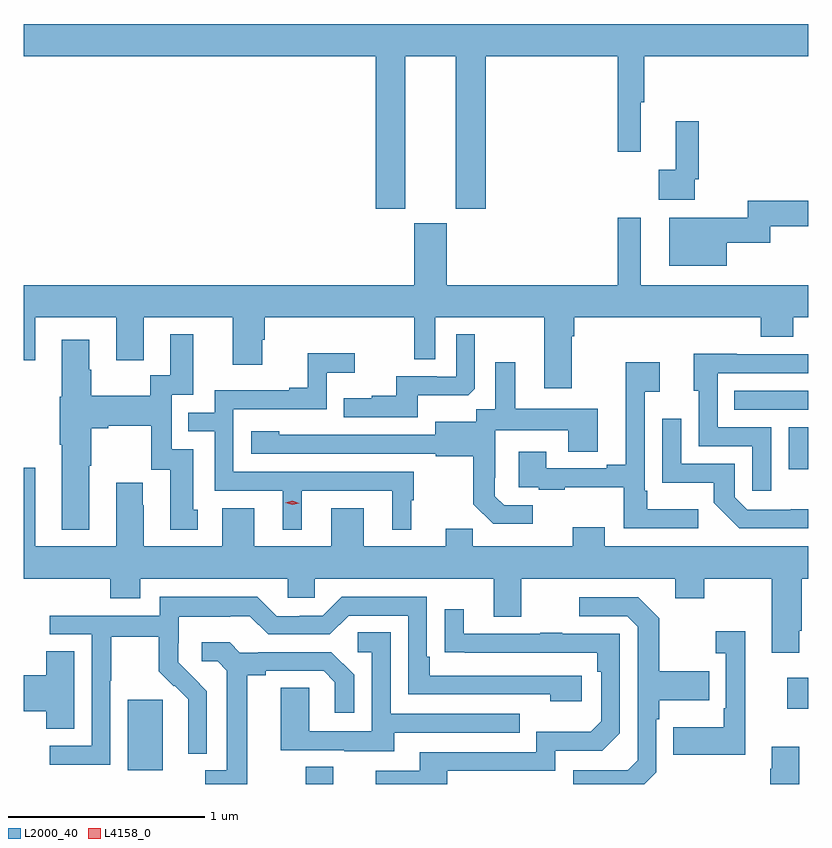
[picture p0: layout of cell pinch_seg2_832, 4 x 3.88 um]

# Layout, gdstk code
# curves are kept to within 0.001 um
import gdstk
lib = gdstk.Library(unit=1e-6, precision=1e-09)
def R(c, l, rs):  # rectangles x0, y0, x1, y1
    for r in rs: c.add(gdstk.rectangle(r[:2], r[2:], *l))
def P(c, l, *ps):  # polygons
    for p in ps: c.add(gdstk.Polygon(p, *l))
L2000_40 = (2000, 40)
L4158_0 = (4158, 0)

pinch_seg2_832 = lib.new_cell('pinch_seg2_832')
R(pinch_seg2_832, L2000_40, [(876.185,587.981,876.325,588.068), (875.279,588.05,875.458,588.411), (878.64,588.365,878.748,588.523), (878.648,589.586,878.748,589.801), (878.371,589.89,878.748,589.986)])
P(pinch_seg2_832, L2000_40, [(876.694,591.692),(876.95,591.692),(876.95,590.913),(877.103,590.913),(877.103,591.692),(877.777,591.692),(877.777,591.204),(877.895,591.204),(877.895,591.456),(877.913,591.456),(877.913,591.692),(878.748,591.692),(878.748,591.856),(874.748,591.856),(874.748,591.692),(876.542,591.692),(876.542,590.913),(876.694,590.913)],
  [(878.169,591.064),(878.189,591.064),(878.189,591.361),(878.072,591.361),(878.072,591.113),(877.986,591.113),(877.986,590.96),(878.169,590.96)],
  [(878.332,590.741),(878.555,590.741),(878.555,590.826),(878.748,590.826),(878.748,590.954),(878.439,590.954),(878.439,590.869),(878.039,590.869),(878.039,590.624),(878.332,590.624)],
  [(877.894,590.869),(877.777,590.869),(877.777,590.524),(876.904,590.524),(876.904,590.841),(876.74,590.841),(876.74,590.524),(874.748,590.524),(874.748,590.142),(874.807,590.142),(874.807,590.36),(875.219,590.36),(875.219,590.142),(875.359,590.142),(875.359,590.36),(875.813,590.36),(875.813,590.118),(875.965,590.118),(875.965,590.247),(875.978,590.247),(875.978,590.36),(876.738,590.36),(876.738,590.146),(876.846,590.146),(876.846,590.36),(877.403,590.36),(877.403,589.998),(877.543,589.998),(877.543,590.264),(877.556,590.264),(877.556,590.36),(878.507,590.36),(878.507,590.261),(878.671,590.261),(878.671,590.36),(878.748,590.36),(878.748,590.524),(877.894,590.524)],
  [(875.083,589.603),(875.091,589.603),(875.091,589.796),(875.179,589.796),(875.179,589.808),(875.399,589.808),(875.399,589.584),(875.495,589.584),(875.495,589.278),(875.635,589.278),(875.635,589.38),(875.611,589.38),(875.611,589.689),(875.502,589.689),(875.502,589.965),(875.611,589.965),(875.611,590.275),(875.495,590.275),(875.495,590.066),(875.394,590.066),(875.394,589.96),(875.091,589.96),(875.091,590.094),(875.083,590.094),(875.083,590.245),(874.943,590.245),(874.943,589.956),(874.931,589.956),(874.931,589.712),(874.943,589.712),(874.943,589.277),(875.083,589.277)],
  [(876.757,589.964),(877.015,589.964),(877.047,589.995),(877.047,590.275),(876.954,590.275),(876.954,590.058),(876.854,590.058),(876.854,590.061),(876.647,590.061),(876.647,589.96),(876.523,589.96),(876.523,589.948),(876.379,589.948),(876.379,589.851),(876.757,589.851)],
  [(876.166,589.476),(876.626,589.476),(876.626,589.277),(876.724,589.277),(876.724,589.428),(876.736,589.428),(876.736,589.572),(875.817,589.572),(875.817,589.893),(876.294,589.893),(876.294,590.078),(876.436,590.078),(876.436,590.177),(876.196,590.177),(876.196,590.002),(876.101,590.002),(876.101,589.989),(875.721,589.989),(875.721,589.875),(875.587,589.875),(875.587,589.779),(875.721,589.779),(875.721,589.476),(876.068,589.476),(876.068,589.277),(876.166,589.277)],
  [(878.559,589.8),(878.286,589.8),(878.286,590.076),(878.748,590.076),(878.748,590.172),(878.383,590.172),(878.383,590.174),(878.165,590.174),(878.165,589.986),(878.19,589.986),(878.19,589.704),(878.463,589.704),(878.463,589.476),(878.559,589.476)],
  [(878.188,589.381),(877.927,589.381),(877.927,589.477),(877.914,589.477),(877.914,589.982),(877.99,589.982),(877.99,590.131),(877.817,590.131),(877.817,589.609),(877.721,589.609),(877.721,589.59),(877.411,589.59),(877.411,589.675),(877.271,589.675),(877.271,589.494),(877.375,589.494),(877.375,589.482),(877.507,589.482),(877.507,589.493),(877.806,589.493),(877.806,589.284),(878.188,589.284)],
  [(877.342,589.401),(877.197,589.401),(877.15,589.448),(877.15,589.543),(877.152,589.543),(877.152,589.784),(877.523,589.784),(877.523,589.675),(877.675,589.675),(877.675,589.894),(877.255,589.894),(877.255,590.131),(877.151,590.131),(877.151,589.892),(877.056,589.892),(877.056,589.828),(876.845,589.828),(876.845,589.761),(876.051,589.762),(876.051,589.78),(875.907,589.78),(875.907,589.665),(876.849,589.665),(876.849,589.653),(877.041,589.653),(877.041,589.407),(877.141,589.307),(877.342,589.307)],
  [(878.748,589.382),(878.66,589.382),(878.66,589.38),(878.436,589.38),(878.373,589.443),(878.373,589.614),(878.1,589.614),(878.1,589.843),(878.004,589.843),(878.004,589.517),(878.266,589.517),(878.266,589.415),(878.396,589.284),(878.748,589.284)],
  [(876.093,588.93),(876.231,588.93),(876.231,589.028),(877.145,589.028),(877.145,588.834),(877.285,588.834),(877.285,589.028),(878.069,589.028),(878.069,588.929),(878.217,588.929),(878.217,589.028),(878.561,589.028),(878.561,588.651),(878.701,588.651),(878.701,588.763),(878.714,588.763),(878.714,589.028),(878.748,589.028),(878.748,589.192),(877.711,589.192),(877.711,589.291),(877.547,589.291),(877.547,589.192),(877.037,589.192),(877.037,589.283),(876.899,589.283),(876.899,589.192),(876.481,589.192),(876.481,589.387),(876.317,589.387),(876.317,589.192),(875.923,589.192),(875.923,589.387),(875.759,589.387),(875.759,589.192),(875.359,589.192),(875.359,589.403),(875.356,589.403),(875.356,589.516),(875.219,589.516),(875.219,589.192),(874.807,589.192),(874.807,589.594),(874.748,589.594),(874.748,589.028),(875.189,589.028),(875.189,588.929),(875.341,588.929),(875.341,589.028),(876.093,589.028)],
  [(875.19,588.508),(875.193,588.508),(875.193,588.732),(875.437,588.732),(875.437,588.557),(875.514,588.48),(875.517,588.483),(875.588,588.413),(875.588,588.29),(875.586,588.29),(875.586,588.136),(875.682,588.136),(875.682,588.454),(875.536,588.602),(875.536,588.699),(875.538,588.699),(875.538,588.833),(875.801,588.833),(875.801,588.837),(875.901,588.837),(875.994,588.744),(876.309,588.744),(876.405,588.84),(876.708,588.84),(876.708,588.438),(877.433,588.438),(877.433,588.404),(877.594,588.404),(877.594,588.534),(876.817,588.534),(876.817,588.631),(876.804,588.631),(876.804,588.936),(876.369,588.936),(876.273,588.84),(876.155,588.84),(876.155,588.837),(876.039,588.837),(875.939,588.937),(875.442,588.937),(875.442,588.84),(874.881,588.84),(874.881,588.744),(875.094,588.744),(875.094,588.177),(874.881,588.177),(874.881,588.079),(875.19,588.079)],
  [(877.974,588.042),(877.974,588.311),(877.987,588.311),(877.987,588.407),(878.243,588.407),(878.243,588.555),(877.987,588.555),(877.987,588.827),(877.881,588.933),(877.581,588.933),(877.581,588.837),(877.824,588.837),(877.878,588.783),(877.878,588.102),(877.827,588.051),(877.551,588.051),(877.551,587.981),(877.913,587.981)],
  [(876.907,588.048),(877.458,588.048),(877.458,588.15),(877.698,588.15),(877.788,588.24),(877.788,588.747),(877.493,588.747),(877.493,588.752),(877.381,588.752),(877.381,588.747),(876.991,588.747),(876.991,588.871),(876.895,588.871),(876.895,588.652),(877.672,588.651),(877.672,588.554),(877.692,588.554),(877.692,588.3),(877.639,588.247),(877.362,588.247),(877.362,588.144),(876.767,588.144),(876.767,588.048),(876.543,588.048),(876.543,587.981),(876.907,587.981)],
  [(878.426,588.76),(878.277,588.76),(878.277,588.647),(878.328,588.647),(878.328,588.367),(878.316,588.367),(878.316,588.271),(878.059,588.271),(878.059,588.131),(878.426,588.131)],
  [(876.637,588.243),(877.277,588.243),(877.277,588.339),(876.618,588.339),(876.618,588.755),(876.45,588.755),(876.45,588.654),(876.522,588.654),(876.522,588.249),(876.204,588.249),(876.204,588.473),(876.059,588.473),(876.059,588.153),(876.383,588.153),(876.383,588.149),(876.637,588.149)],
  [(875.887,588.536),(875.983,588.536),(875.983,588.558),(876.278,588.558),(876.335,588.501),(876.335,588.345),(876.432,588.345),(876.432,588.538),(876.316,588.654),(875.944,588.654),(875.944,588.651),(875.85,588.651),(875.798,588.703),(875.655,588.703),(875.655,588.606),(875.736,588.606),(875.783,588.559),(875.783,588.051),(875.673,588.051),(875.673,587.981),(875.887,587.981)],
  [(875.005,588.659),(874.862,588.659),(874.862,588.536),(874.748,588.536),(874.748,588.353),(874.862,588.353),(874.862,588.262),(875.005,588.262)],
  [(878.701,588.172),(878.561,588.172),(878.561,588.059),(878.554,588.059),(878.554,587.981),(878.701,587.981)])
P(pinch_seg2_832, L4158_0, [(876.117,589.404),(876.081,589.415),(876.081,589.415),(876.081,589.415),(876.117,589.424),(876.153,589.413),(876.153,589.412),(876.153,589.412)])

lib.write_gds('pinch_seg2_832.gds')
